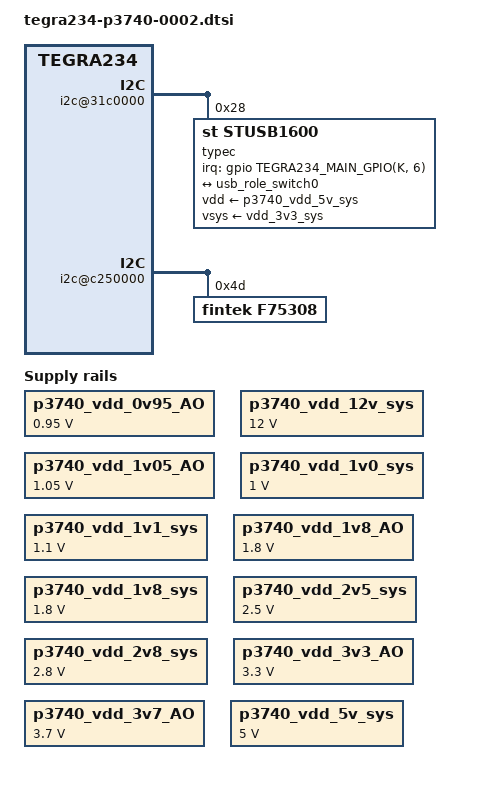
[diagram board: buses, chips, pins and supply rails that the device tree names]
// SPDX-License-Identifier: GPL-2.0-only
// SPDX-FileCopyrightText: Copyright (c) 2023, NVIDIA CORPORATION & AFFILIATES.  All rights reserved.

#include "tegra234-soc-audio-dai-links.dtsi"

/ {
	fragment-t234-p3740-0002@0 {
		target-path = "/";
		__overlay__ {
			bus@0 {
				i2c@31c0000 {
					typec: stusb1600@28 {
						status = "okay";
						compatible = "st,stusb1600";
						reg = <0x28>;
						vdd-supply = <&p3740_vdd_5v_sys>;
						vsys-supply = <&vdd_3v3_sys>;
						interrupt-parent = <&gpio>;
						interrupts = <TEGRA234_MAIN_GPIO(K, 6) IRQ_TYPE_LEVEL_LOW>;
						typec_con: connector {
							compatible = "usb-c-connector";
							label = "USB-C";
							data-role = "dual";
							power-role = "dual";
							typec-power-opmode = "default";

							port {
								typec_con_ep: endpoint {
									remote-endpoint = <&usb_role_switch0>;
								};
							};
						};
					};
				};

				i2c@c250000 {
					f75308@4d {
						compatible = "fintek,f75308";
						reg = <0x4d>;
						#address-cells = <1>;
						#size-cells = <0>;

						fan@0 {
							reg = <0x0>;
							type = "pwm";
							duty = "manual_duty";
							5seg = <100 80 60 40 20>;
						};

						fan@1 {
							reg = <0x1>;
							type = "pwm";
							duty = "manual_duty";
							5seg = <100 80 60 40 20>;
						};

						fan@2 {
							reg = <0x2>;
							type = "pwm";
							duty = "manual_duty";
							5seg = <100 80 60 40 20>;
						};

						fan@3 {
							reg = <0x3>;
							type = "pwm";
							duty = "manual_duty";
							5seg = <100 80 60 40 20>;
						};
					};
				};

				padctl@3520000 {
					ports {
						usb2-0 {
							port {
								usb_role_switch0: endpoint {
									remote-endpoint = <&typec_con_ep>;
								};
							};
						};
					};
				};
			};


			sound {
				compatible = "nvidia,tegra186-audio-graph-card",
					     "nvidia,tegra186-ape";
				clocks = <&bpmp TEGRA234_CLK_PLLA>,
					 <&bpmp TEGRA234_CLK_PLLA_OUT0>,
					 <&bpmp TEGRA234_CLK_AUD_MCLK>;
				clock-names = "pll_a", "plla_out0", "extern1";
				assigned-clocks = <&bpmp TEGRA234_CLK_AUD_MCLK>;
				assigned-clock-parents = <&bpmp TEGRA234_CLK_PLLA_OUT0>;

				nvidia-audio-card,name = "NVIDIA Jetson IGX Orin APE";

				nvidia-audio-card,mclk-fs = <256>;

				nvidia-audio-card,widgets =
					"Headphone",    "CVB-RT Headphone Jack",
					"Microphone",   "CVB-RT Mic Jack",
					"Speaker",      "CVB-RT Int Spk",
					"Microphone",   "CVB-RT Int Mic";

				nvidia-audio-card,routing =
					"CVB-RT Headphone Jack",     "CVB-RT HPOL",
					"CVB-RT Headphone Jack",     "CVB-RT HPOR",
					"CVB-RT IN1P",               "CVB-RT Mic Jack",
					"CVB-RT IN2P",               "CVB-RT Mic Jack",
					"CVB-RT IN2N",               "CVB-RT Mic Jack",
					"CVB-RT IN3P",               "CVB-RT Mic Jack",
					"CVB-RT Int Spk",            "CVB-RT SPOLP",
					"CVB-RT Int Spk",            "CVB-RT SPORP",
					"CVB-RT Int Spk",            "CVB-RT LOUTL",
					"CVB-RT Int Spk",            "CVB-RT LOUTR",
					"CVB-RT DMIC1",              "CVB-RT Int Mic",
					"CVB-RT DMIC2",              "CVB-RT Int Mic";

				/* I2S4 dai node */
				nvidia-audio-card,dai-link@79 {
					link-name = "rt5640-playback";
					codec {
						sound-dai = <&rt5640 0>;
						prefix = "CVB-RT";
					};
				};

				/* I2S6 dai node */
				nvidia-audio-card,dai-link@81 {
				       bitclock-master;
				       frame-master;
				};
			};

			eeprom-manager {
				bus@0 {
					i2c-bus = <&dp_aux_ch2_i2c>;
					eeprom@1 {
						slave-address = <0x55>;
						label = "cvb";
					};
				};
			};

			reserved-memory {
				#address-cells = <2>;
				#size-cells = <2>;
				ranges;

				linux,cma { /* Needed for nvgpu comptags */
					compatible = "shared-dma-pool";
					reusable;
					size = <0x0 0x20000000>; /* 512MB */
					alignment = <0x0 0x10000>;
					linux,cma-default;
					status = "okay";
				};
			};

			p3740_vdd_0v95_AO: regulator-vdd-0v95-AO {
				compatible = "regulator-fixed";
				regulator-name = "vdd-0v95-AO";
				regulator-min-microvolt = <950000>;
				regulator-max-microvolt = <950000>;
			};
			p3740_vdd_12v_sys: regulator-vdd-12v-sys {
				compatible = "regulator-fixed";
				regulator-name = "vdd-12v-sys";
				regulator-min-microvolt = <12000000>;
				regulator-max-microvolt = <12000000>;
			};
			p3740_vdd_1v05_AO: regulator-vdd-1v05-AO {
				compatible = "regulator-fixed";
				regulator-name = "vdd-1v05-AO";
				regulator-min-microvolt = <1050000>;
				regulator-max-microvolt = <1050000>;
			};
			p3740_vdd_1v0_sys: regulator-vdd-1v0-sys {
				compatible = "regulator-fixed";
				regulator-name = "vdd-1v0-sys";
				regulator-min-microvolt = <1000000>;
				regulator-max-microvolt = <1000000>;
			};
			p3740_vdd_1v1_sys: regulator-vdd-1v1-sys {
				compatible = "regulator-fixed";
				regulator-name = "vdd-1v1-sys";
				regulator-min-microvolt = <1100000>;
				regulator-max-microvolt = <1100000>;
			};
			p3740_vdd_1v8_AO: regulator-vdd-1v8-AO {
				compatible = "regulator-fixed";
				regulator-name = "vdd-1v8-AO";
				regulator-min-microvolt = <1800000>;
				regulator-max-microvolt = <1800000>;
			};
			p3740_vdd_1v8_sys: regulator-vdd-1v8-sys {
				compatible = "regulator-fixed";
				regulator-name = "vdd-1v8-sys";
				regulator-min-microvolt = <1800000>;
				regulator-max-microvolt = <1800000>;
			};
			p3740_vdd_2v5_sys: regulator-vdd-2v5-sys {
				compatible = "regulator-fixed";
				regulator-name = "vdd-2v5-sys";
				regulator-min-microvolt = <2500000>;
				regulator-max-microvolt = <2500000>;
			};
			p3740_vdd_2v8_sys: regulator-vdd-2v8-sys {
				compatible = "regulator-fixed";
				regulator-name = "vdd-2v8-sys";
				regulator-min-microvolt = <2800000>;
				regulator-max-microvolt = <2800000>;
			};
			p3740_vdd_3v3_AO: regulator-vdd-3v3-AO {
				compatible = "regulator-fixed";
				regulator-name = "vdd-3v3-AO";
				regulator-min-microvolt = <3300000>;
				regulator-max-microvolt = <3300000>;
			};
			p3740_vdd_3v7_AO: regulator-vdd-3v7-AO {
				compatible = "regulator-fixed";
				regulator-name = "vdd-3v7-AO";
				regulator-min-microvolt = <3700000>;
				regulator-max-microvolt = <3700000>;
			};
			p3740_vdd_5v_sys: regulator-vdd-5v-sys {
				compatible = "regulator-fixed";
				regulator-name = "vdd-5v-sys";
				regulator-min-microvolt = <5000000>;
				regulator-max-microvolt = <5000000>;
			};
		};
	};
};
